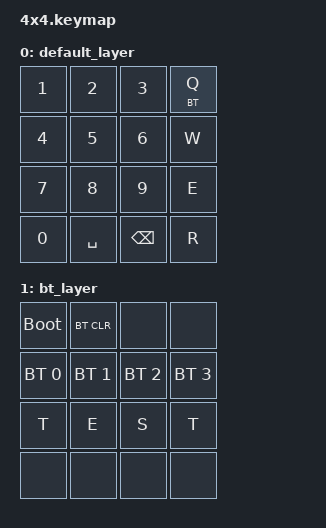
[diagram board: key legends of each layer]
#include <behaviors.dtsi>
#include <dt-bindings/zmk/keys.h>
#include <dt-bindings/zmk/bt.h>

#define DEFAULT 0
#define BT 1

/ {
    keymap {
        compatible = "zmk,keymap";

        default_layer {
            bindings = <
                &kp N1          &kp N2          &kp N3          &lt BT Q
                &kp N4          &kp N5          &kp N6          &kp W
                &kp N7          &kp N8          &kp N9          &kp E
                &kp N0          &kp SPACE       &kp BSPC        &kp R
            >;
        };

        bt_layer {
            bindings = <
                &bootloader     &bt BT_CLR      &none           &none
                &bt BT_SEL 0    &bt BT_SEL 1    &bt BT_SEL 2    &bt BT_SEL 3
                &kp T           &kp E           &kp S           &kp T
                &none           &none           &none           &none
            >;
        };
    };    

};




// (R1K1 = P31)     (R1K2 = P29)     (R1K3 = P02)     (R1K4 = P17)
// (R2K1 = P111)    (R2K2 = P113)    (R2K3 = P115)    (R2K4 = P20)
// (R3K1 = P10)     (R3K2 = P09)     (R3K3 = P22)     (R3K4 = P24)
// (R4K1 = P100)    (R4K2 = P11)     (R4K3 = P104)    (R4K4 = P106)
